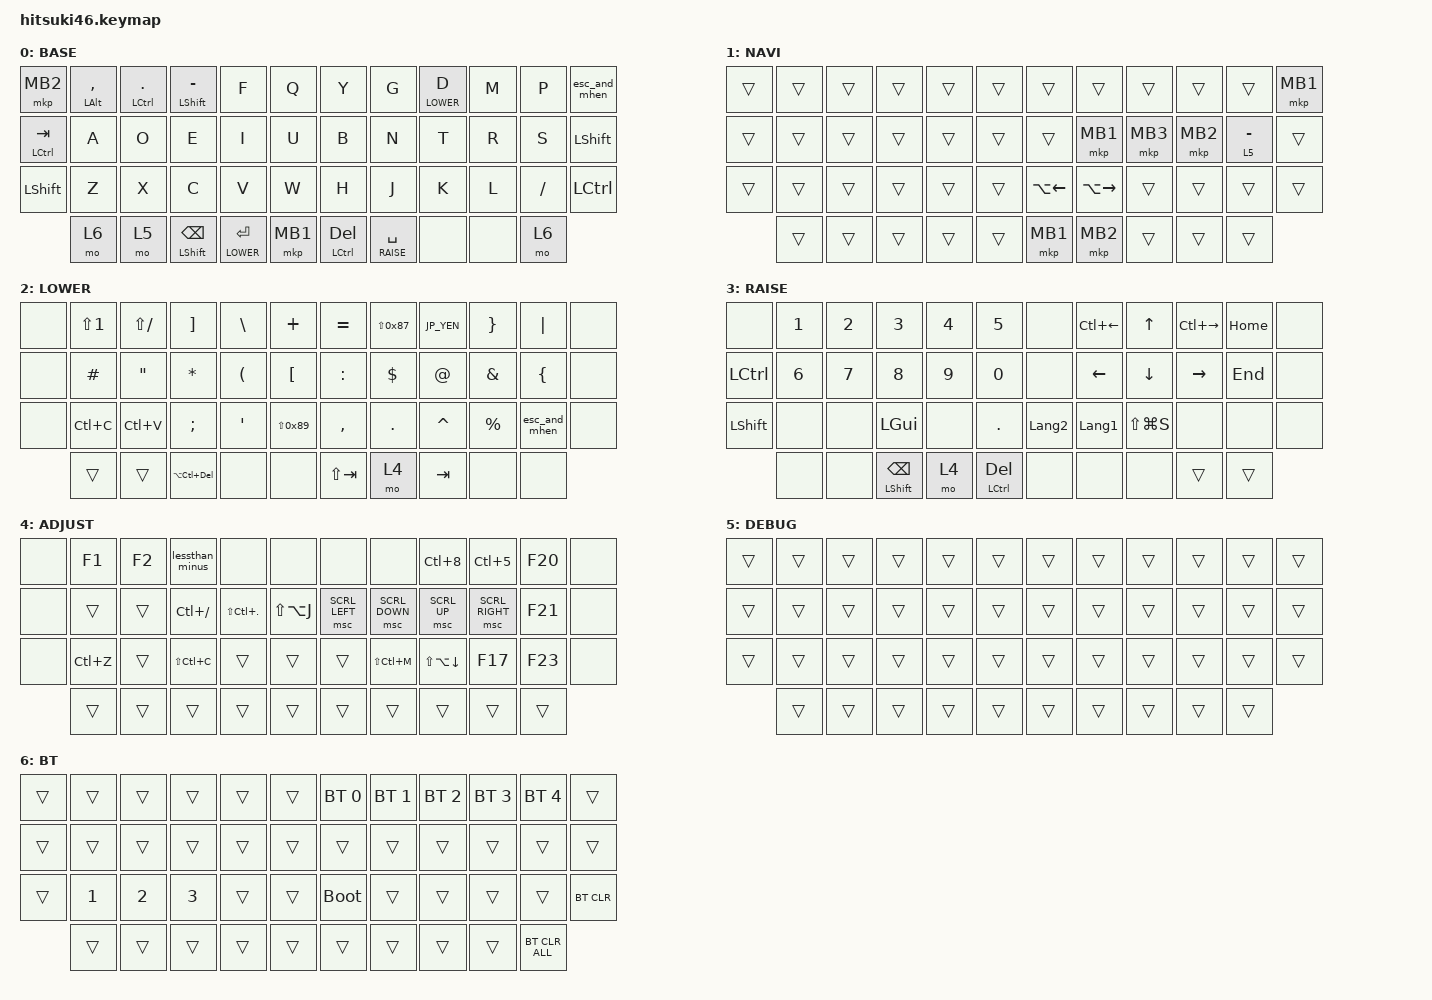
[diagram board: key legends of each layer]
#include <behaviors.dtsi>
#include <dt-bindings/zmk/bt.h>
#include <dt-bindings/zmk/keys.h>
#include <dt-bindings/zmk/pointing.h>

#define BASE 0
#define NAVI 1
#define LOWER 2
#define RAISE 3
#define ADJUST 4
#define DEBUG 5
#define BT 6

// OS設定を日本語キーボードのまま使用するための変換定義

#define JP_DQUOTE       AT                // "
#define JP_AMPERSAND    CARET             // &
#define JP_QUOTE        AMPERSAND          // '
#define JP_EQUAL        UNDER              // =
#define JP_CARET        EQUAL              // ^
#define JP_YEN          0x89               // ¥
#define JP_PLUS         COLON              // +
#define JP_TILDE        PLUS               // ~
#define JP_PIPE         LS(0x89)           // |
#define JP_AT           LEFT_BRACKET      // @
#define JP_COLON        SINGLE_QUOTE      // :
#define JP_ASTERISK     DOUBLE_QUOTES     // *
#define JP_BACKQUOTE    LEFT_BRACE        // `
#define JP_UNDERSCORE   LS(0x87)          // _
#define JP_LBRACKET     RIGHT_BRACKET     // [
#define JP_RBRACKET     BACKSLASH         // ]
#define JP_LPAREN       ASTERISK          // (
#define JP_RPAREN       LEFT_PARENTHESIS  // )
#define JP_LBRACE       RIGHT_BRACE        // {
#define JP_RBRACE       PIPE              // }
#define JP_KANA         LANGUAGE_1        // かな
#define JP_EISU         LANGUAGE_2        // 英数
#define JP_HANZEN       GRAVE             // 半角/全角S

&mt {
    flavor = "balanced";
    quick-tap-ms = <0>;
};

// &trackball {
//     // Note: automouse-layer and scroll-layers are no longer supported in badjeff/zmk-pmw3610-driver
//     // These features should now be configured using layer-based zmk,input-listener in keymap
//     // automouse-layer = <1>;
//     // scroll-layers = <5>;
// };

/ {
    combos {
        compatible = "zmk,combos";

        tab {
            bindings = <&kp TAB>;
            key-positions = <11 12>;
        };

        shift_tab {
            bindings = <&kp LS(TAB)>;
            key-positions = <12 13>;
        };

        muhennkann {
            bindings = <&to_layer_0 INT_MUHENKAN>;
            key-positions = <11 10>;
        };

        double_quotation {
            bindings = <&kp DOUBLE_QUOTES>;
            key-positions = <20 21>;
        };

        eq {
            bindings = <&kp EQUAL>;
            key-positions = <24 25>;
        };
    };

    macros {
        to_layer_0: to_layer_0 {
            compatible = "zmk,behavior-macro-one-param";
            #binding-cells = <1>;
            bindings = <&to 0 &macro_param_1to1 &kp MACRO_PLACEHOLDER>;
            label = "TO_LAYER_0";
        };

        esc_and_mhen: esc_and_mhen {
            compatible = "zmk,behavior-macro";
            #binding-cells = <0>;
            bindings = <&kp ESC &kp LANGUAGE_2>;
            label = "ESC_AND_MHEN";
        };

        lessthan_minus: lessthan_minus {
            compatible = "zmk,behavior-macro";
            #binding-cells = <0>;
            bindings = <&kp LESS_THAN &kp MINUS>;
            label = "LEFT_ARROW";
        };
    };

    behaviors {
        lt_to_layer_0: lt_to_layer_0 {
            compatible = "zmk,behavior-hold-tap";
            label = "LAYER_TAP_TO_0";
            bindings = <&mo>, <&to_layer_0>;

            #binding-cells = <2>;
            tapping-term-ms = <200>;
        };
    };

    keymap {
        compatible = "zmk,keymap";

        BASE {
            bindings = <
&mkp MB2        &mt LEFT_ALT COMMA  &mt LCTRL PERIOD  &mt LEFT_SHIFT MINUS      &kp F            &kp Q           &kp Y             &kp G            &lt LOWER D       &kp M  &kp P      &esc_and_mhen
&mt LCTRL TAB   &kp A               &kp O             &kp E                     &kp I            &kp U           &kp B             &kp N            &kp T             &kp R  &kp S      &kp LEFT_SHIFT
&kp LEFT_SHIFT  &kp Z               &kp X             &kp C                     &kp V            &kp W           &kp H             &kp J            &kp K             &kp L  &kp SLASH  &kp LCTRL
                &mo 6               &mo 5             &mt LEFT_SHIFT BACKSPACE  &lt LOWER ENTER  &mkp MB1        &mt LCTRL DELETE  &lt RAISE SPACE  &none             &none  &mo 6
            >;
        };

        NAVI {
            bindings = <
&trans  &trans  &trans  &trans  &trans  &trans                      &trans              &trans               &trans    &trans    &trans       &mkp MB1
&trans  &trans  &trans  &trans  &trans  &trans                      &trans              &mkp MB1             &mkp MB3  &mkp MB2  &lt 5 MINUS  &trans
&trans  &trans  &trans  &trans  &trans  &trans                      &kp LA(LEFT_ARROW)  &kp LA(RIGHT_ARROW)  &trans    &trans    &trans       &trans
        &trans  &trans  &trans  &trans  &trans                      &mkp MB1            &mkp MB2             &trans    &trans    &trans
            >;
        };

        LOWER {
            bindings = <
&none  &kp LS(NUMBER_1)  &kp LS(SLASH)      &kp RIGHT_BRACKET   &kp BSLH              &kp PLUS                                    &kp EQUAL    &kp JP_UNDERSCORE  &kp JP_YEN     &kp RIGHT_BRACE  &kp PIPE        &none
&none  &kp HASH          &kp DOUBLE_QUOTES  &kp ASTERISK        &kp LEFT_PARENTHESIS  &kp LEFT_BRACKET                            &kp COLON    &kp DOLLAR         &kp AT_SIGN    &kp AMPERSAND    &kp LEFT_BRACE  &none
&none  &kp LC(C)         &kp LC(V)          &kp SEMICOLON       &kp SINGLE_QUOTE      &kp JP_PIPE                                 &kp COMMA    &kp PERIOD         &kp CARET      &kp PERCENT      &esc_and_mhen   &none
       &trans            &trans             &kp LA(LC(DELETE))  &none                 &none                                       &kp LS(TAB)  &mo 4              &kp TAB        &none            &none           
            >;
        };

        RAISE {
            bindings = <
&none           &kp NUMBER_1  &kp NUMBER_2  &kp NUMBER_3              &kp NUMBER_4  &kp N5                    &none           &kp LC(LEFT)    &kp UP_ARROW   &kp LC(RIGHT)  &kp HOME  &none
&kp LCTRL       &kp NUMBER_6  &kp N7        &kp N8                    &kp N9        &kp N0                    &none           &kp LEFT        &kp DOWN       &kp RIGHT      &kp END   &none
&kp LEFT_SHIFT  &none         &none         &kp LEFT_GUI              &none         &kp PERIOD                &kp LANGUAGE_2  &kp LANGUAGE_1  &kp LS(LG(S))  &none          &none     &none
                &none         &none         &mt LEFT_SHIFT BACKSPACE  &mo 4         &mt LCTRL DELETE          &none           &none           &none          &trans         &trans
            >;
        };

        ADJUST {
            bindings = <
&none  &kp F1     &kp F2  &lessthan_minus  &none            &none                         &none           &none           &kp LC(N8)        &kp LC(N5)       &kp F20  &none
&none  &trans     &trans  &kp LC(SLASH)    &kp LS(LC(DOT))  &kp LS(LA(J))                 &msc SCRL_LEFT  &msc SCRL_DOWN  &msc SCRL_UP      &msc SCRL_RIGHT  &kp F21  &none
&none  &kp LC(Z)  &trans  &kp LS(LC(C))    &trans           &trans                        &trans          &kp LS(LC(M))   &kp LS(LA(DOWN))  &kp F17          &kp F23  &none
       &trans     &trans  &trans           &trans           &trans                        &trans          &trans          &trans            &trans           &trans
            >;
        };

        DEBUG {
            bindings = <
&trans  &trans  &trans  &trans  &trans  &trans  &trans  &trans  &trans  &trans  &trans  &trans
&trans  &trans  &trans  &trans  &trans  &trans  &trans  &trans  &trans  &trans  &trans  &trans
&trans  &trans  &trans  &trans  &trans  &trans  &trans  &trans  &trans  &trans  &trans  &trans
        &trans  &trans  &trans  &trans  &trans  &trans  &trans  &trans  &trans  &trans
            >;
        };

        BT {
            bindings = <
&trans  &trans        &trans        &trans        &trans  &trans  &bt BT_SEL 0  &bt BT_SEL 1  &bt BT_SEL 2  &bt BT_SEL 3  &bt BT_SEL 4    &trans
&trans  &trans        &trans        &trans        &trans  &trans  &trans        &trans        &trans        &trans        &trans          &trans
&trans  &kp NUMBER_1  &kp NUMBER_2  &kp NUMBER_3  &trans  &trans  &bootloader   &trans        &trans        &trans        &trans          &bt BT_CLR
        &trans        &trans        &trans        &trans  &trans  &trans        &trans        &trans        &trans        &bt BT_CLR_ALL
            >;
        };
    };
};
